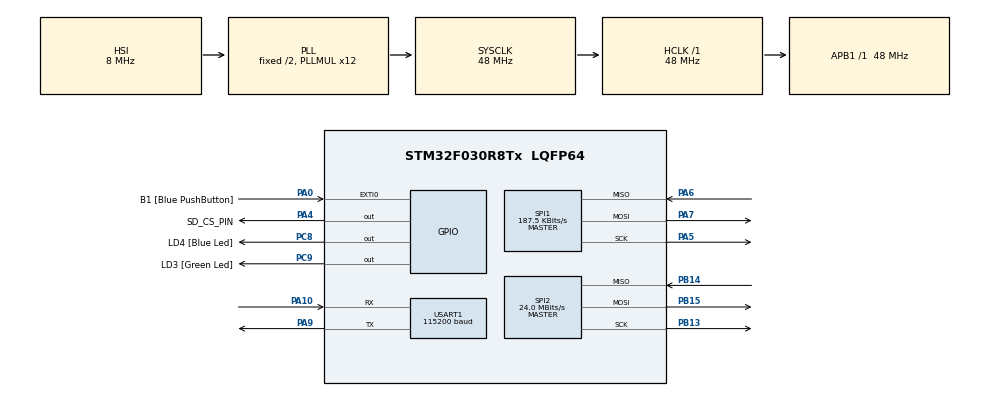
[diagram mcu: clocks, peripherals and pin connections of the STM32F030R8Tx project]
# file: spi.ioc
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Mcu.Family=STM32F0
Mcu.Name=STM32F030R8Tx
Mcu.Package=LQFP64
NVIC.TIM6_IRQn=true\:0\:0\:false\:false\:true\:true\:true
NVIC.USART1_IRQn=true\:0\:0\:false\:false\:true\:true\:true
PA0.GPIO_Label=B1 [Blue PushButton]
PA0.GPIO_ModeDefaultEXTI=GPIO_MODE_EVT_RISING
PA0.Signal=GPXTI0
PA10.Mode=Asynchronous
PA10.Signal=USART1_RX
PA13.GPIO_Label=SWDIO
PA13.Signal=SYS_SWDIO
PA14.GPIO_Label=SWCLK
PA14.Signal=SYS_SWCLK
PA4.GPIO_Label=SD_CS_PIN
PA4.Signal=GPIO_Output
PA5.Mode=Full_Duplex_Master
PA5.Signal=SPI1_SCK
PA6.Mode=Full_Duplex_Master
PA6.Signal=SPI1_MISO
PA7.Mode=Full_Duplex_Master
PA7.Signal=SPI1_MOSI
PA9.Mode=Asynchronous
PA9.Signal=USART1_TX
PB13.Mode=Full_Duplex_Master
PB13.Signal=SPI2_SCK
PB14.Mode=Full_Duplex_Master
PB14.Signal=SPI2_MISO
PB15.Mode=Full_Duplex_Master
PB15.Signal=SPI2_MOSI
PC8.GPIO_Label=LD4 [Blue Led]
PC8.Signal=GPIO_Output
PC9.GPIO_Label=LD3 [Green Led]
PC9.Signal=GPIO_Output
ProjectManager.HeapSize=0x200
ProjectManager.StackSize=0x400
ProjectManager.TargetToolchain=TrueSTUDIO
RCC.AHBFreq_Value=48000000
RCC.APB1Freq_Value=48000000
RCC.APB1TimFreq_Value=48000000
RCC.HCLKFreq_Value=48000000
RCC.PLLMUL=RCC_PLL_MUL12
RCC.SYSCLKFreq_VALUE=48000000
RCC.SYSCLKSource=RCC_SYSCLKSOURCE_PLLCLK
SPI1.BaudRatePrescaler=SPI_BAUDRATEPRESCALER_256
SPI1.CalculateBaudRate=187.5 KBits/s
SPI1.DataSize=SPI_DATASIZE_8BIT
SPI1.Direction=SPI_DIRECTION_2LINES
SPI1.Mode=SPI_MODE_MASTER
SPI1.VirtualType=VM_MASTER
SPI2.BaudRatePrescaler=SPI_BAUDRATEPRESCALER_2
SPI2.CalculateBaudRate=24.0 MBits/s
SPI2.Direction=SPI_DIRECTION_2LINES
SPI2.Mode=SPI_MODE_MASTER
SPI2.VirtualType=VM_MASTER
TIM6.AutoReloadPreload=TIM_AUTORELOAD_PRELOAD_ENABLE
TIM6.Period=100
TIM6.Prescaler=10
USART1.BaudRate=115200
USART1.VirtualMode-Asynchronous=VM_ASYNC
VP_TIM6_VS_ClockSourceINT.Mode=Enable_Timer
board=32F0308DISCOVERY

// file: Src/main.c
/* USER CODE BEGIN Header */
/**
  ******************************************************************************
  * @file           : main.c
  * @brief          : Main program body
  ******************************************************************************
  * @attention
  *
  * <h2><center>&copy; Copyright (c) 2019 STMicroelectronics.
  * All rights reserved.</center></h2>
  *
  * This software component is licensed by ST under BSD 3-Clause license,
  * the "License"; You may not use this file except in compliance with the
  * License. You may obtain a copy of the License at:
  *                        opensource.org/licenses/BSD-3-Clause
  *
  ******************************************************************************
  */
/* USER CODE END Header */

#include "main.h"
#include "cgpio.h"
#include "fat.h"
#include "sd.h"

SPI_HandleTypeDef hspi1;
SPI_HandleTypeDef hspi2;

TIM_HandleTypeDef htim6;

UART_HandleTypeDef huart1;

/* USER CODE BEGIN PV */
	uint8_t spi_rx[100];
	uint8_t spi_tx[100];
	uint32_t blink_counter = 0;
/* USER CODE END PV */

void SystemClock_Config(void);
static void MX_GPIO_Init(void);
static void MX_SPI1_Init(void);
static void MX_TIM6_Init(void);
static void MX_USART1_UART_Init(void);
static void MX_SPI2_Init(void);

int main(void)
{

  /* MCU Configuration--------------------------------------------------------*/

  /* Reset of all peripherals, Initializes the Flash interface and the Systick. */
  HAL_Init();

  /* USER CODE BEGIN Init */
	setvbuf(stdout, NULL, _IONBF, 0);
  /* USER CODE END Init */

  /* Configure the system clock */
  SystemClock_Config();

  /* Initialize all configured peripherals */
  MX_GPIO_Init();
  MX_SPI1_Init();
  MX_TIM6_Init();
  MX_USART1_UART_Init();
  MX_SPI2_Init();
  /* USER CODE BEGIN 2 */

  uint32_t block_data[128] = {0};
  uint32_t lba_address = 0;
  BPB_boot_sector_t boot_partition;

	printf("Program start! \r\n");
	if ( !init_FAT()){

		if ( SD_readSingleBlock (  block_data , 0  )) {
			printf(" can't read block data \r\n" );

		}

		lba_address  = 512* ((  block_data[113]>>16 ) &  0xffff );

		boot_partition.BPB_BytesPerSec = ((block_data[ 3] &0xf)<<8)  |
						(block_data[2] & 0xff000000)>>24;
		boot_partition.BPB_SecPerClus  =  (block_data[ 3] >>8)  &0xff;
		boot_partition.BPB_RsvdSecCnt  =  (block_data[ 3] >>16) &0xffff;
		boot_partition.BPB_NumFATS     =   block_data[ 4];
		boot_partition.BPB_FATSz32     =   block_data[ 9]       &0xffff;
		boot_partition.BPB_RootClus    =   block_data[11];

		printf("lba addr %x \r\n",lba_address );
		printf("BPB_BytesPerSec %x \r\n",boot_partition.BPB_BytesPerSec );
		printf("BPB_SecPerClus %x \r\n",boot_partition.BPB_SecPerClus );
		printf("BPB_RsvdSecCnt %x \r\n",boot_partition.BPB_RsvdSecCnt );
		printf("BPB_NumFATS %x \r\n",boot_partition.BPB_NumFATS );
		printf("BPB_FATSz32 %x \r\n",boot_partition.BPB_FATSz32 );
		printf("BPB_RootClus %x \r\n",boot_partition.BPB_RootClus );
	}
  /* USER CODE END 2 */

  /* Infinite loop */
  while (1)
  {

    /* USER CODE BEGIN 3 */

	//HAL_SPI_Transmit (&hspi1,spi_tx, 2, HAL_MAX_DELAY);
	/*! \todo add trasmition reception */
//	HAL_SPI_TransmitReceive(^hspi1, spi_tx, spi_rx, );
	if (HAL_GetTick () > blink_counter  ) {
		blink_counter = HAL_GetTick () + 1000;
		LED_BLUE_TOGGLE();
	}
  }
  /* USER CODE END 3 */
}

void SystemClock_Config(void)
{
  RCC_OscInitTypeDef RCC_OscInitStruct = {0};
  RCC_ClkInitTypeDef RCC_ClkInitStruct = {0};
  RCC_PeriphCLKInitTypeDef PeriphClkInit = {0};

  /** Initializes the CPU, AHB and APB busses clocks
  */
  RCC_OscInitStruct.OscillatorType = RCC_OSCILLATORTYPE_HSI;
  RCC_OscInitStruct.HSIState = RCC_HSI_ON;
  RCC_OscInitStruct.HSICalibrationValue = RCC_HSICALIBRATION_DEFAULT;
  RCC_OscInitStruct.PLL.PLLState = RCC_PLL_ON;
  RCC_OscInitStruct.PLL.PLLSource = RCC_PLLSOURCE_HSI;
  RCC_OscInitStruct.PLL.PLLMUL = RCC_PLL_MUL12;
  RCC_OscInitStruct.PLL.PREDIV = RCC_PREDIV_DIV1;
  if (HAL_RCC_OscConfig(&RCC_OscInitStruct) != HAL_OK)
  {
    Error_Handler();
  }
  /** Initializes the CPU, AHB and APB busses clocks
  */
  RCC_ClkInitStruct.ClockType = RCC_CLOCKTYPE_HCLK|RCC_CLOCKTYPE_SYSCLK
                              |RCC_CLOCKTYPE_PCLK1;
  RCC_ClkInitStruct.SYSCLKSource = RCC_SYSCLKSOURCE_PLLCLK;
  RCC_ClkInitStruct.AHBCLKDivider = RCC_SYSCLK_DIV1;
  RCC_ClkInitStruct.APB1CLKDivider = RCC_HCLK_DIV1;

  if (HAL_RCC_ClockConfig(&RCC_ClkInitStruct, FLASH_LATENCY_1) != HAL_OK)
  {
    Error_Handler();
  }
  PeriphClkInit.PeriphClockSelection = RCC_PERIPHCLK_USART1;
  PeriphClkInit.Usart1ClockSelection = RCC_USART1CLKSOURCE_PCLK1;
  if (HAL_RCCEx_PeriphCLKConfig(&PeriphClkInit) != HAL_OK)
  {
    Error_Handler();
  }
}

static void MX_SPI1_Init(void)
{

  /* SPI1 parameter configuration*/
  hspi1.Instance = SPI1;
  hspi1.Init.Mode = SPI_MODE_MASTER;
  hspi1.Init.Direction = SPI_DIRECTION_2LINES;
  hspi1.Init.DataSize = SPI_DATASIZE_8BIT;
  hspi1.Init.CLKPolarity = SPI_POLARITY_HIGH;
  hspi1.Init.CLKPhase = SPI_PHASE_2EDGE;
  hspi1.Init.NSS = SPI_NSS_SOFT;
  hspi1.Init.BaudRatePrescaler = SPI_BAUDRATEPRESCALER_256;
  hspi1.Init.FirstBit = SPI_FIRSTBIT_MSB;
  hspi1.Init.TIMode = SPI_TIMODE_DISABLE;
  hspi1.Init.CRCCalculation = SPI_CRCCALCULATION_DISABLE;
  hspi1.Init.CRCPolynomial = 10;

  if (HAL_SPI_Init(&hspi1) != HAL_OK)
  {
    Error_Handler();
  }

}

static void MX_SPI2_Init(void)
{

  /* SPI2 parameter configuration*/
  hspi2.Instance = SPI2;
  hspi2.Init.Mode = SPI_MODE_MASTER;
  hspi2.Init.Direction = SPI_DIRECTION_2LINES;
  hspi2.Init.DataSize = SPI_DATASIZE_4BIT;
  hspi2.Init.CLKPolarity = SPI_POLARITY_LOW;
  hspi2.Init.CLKPhase = SPI_PHASE_1EDGE;
  hspi2.Init.NSS = SPI_NSS_SOFT;
  hspi2.Init.BaudRatePrescaler = SPI_BAUDRATEPRESCALER_2;
  hspi2.Init.FirstBit = SPI_FIRSTBIT_MSB;
  hspi2.Init.TIMode = SPI_TIMODE_DISABLE;
  hspi2.Init.CRCCalculation = SPI_CRCCALCULATION_DISABLE;
  hspi2.Init.CRCPolynomial = 7;
  hspi2.Init.CRCLength = SPI_CRC_LENGTH_DATASIZE;
  hspi2.Init.NSSPMode = SPI_NSS_PULSE_ENABLE;
  if (HAL_SPI_Init(&hspi2) != HAL_OK)
  {
    Error_Handler();
  }

}

static void MX_TIM6_Init(void)
{

  htim6.Instance = TIM6;
  htim6.Init.Prescaler = 10;
  htim6.Init.CounterMode = TIM_COUNTERMODE_UP;
  htim6.Init.Period = 100;
  htim6.Init.AutoReloadPreload = TIM_AUTORELOAD_PRELOAD_ENABLE;
  if (HAL_TIM_Base_Init(&htim6) != HAL_OK)
  {
    Error_Handler();
  }

}

static void MX_USART1_UART_Init(void)
{

  huart1.Instance = USART1;
  huart1.Init.BaudRate = 921600;
  huart1.Init.WordLength = UART_WORDLENGTH_8B;
  huart1.Init.StopBits = UART_STOPBITS_1;
  huart1.Init.Parity = UART_PARITY_NONE;
  huart1.Init.Mode = UART_MODE_TX_RX;
  huart1.Init.HwFlowCtl = UART_HWCONTROL_NONE;
  huart1.Init.OverSampling = UART_OVERSAMPLING_16;
  huart1.Init.OneBitSampling = UART_ONE_BIT_SAMPLE_DISABLE;
  huart1.AdvancedInit.AdvFeatureInit = UART_ADVFEATURE_NO_INIT;
  if (HAL_UART_Init(&huart1) != HAL_OK)
  {
    Error_Handler();
  }

}

static void MX_GPIO_Init(void)
{
  GPIO_InitTypeDef GPIO_InitStruct = {0};

  /* GPIO Ports Clock Enable */
  __HAL_RCC_GPIOA_CLK_ENABLE();
  __HAL_RCC_GPIOB_CLK_ENABLE();
  __HAL_RCC_GPIOC_CLK_ENABLE();

  /*Configure GPIO pin Output Level */
  HAL_GPIO_WritePin(SD_CS_PIN_GPIO_Port, SD_CS_PIN_Pin, GPIO_PIN_RESET);

  /*Configure GPIO pin Output Level */
  HAL_GPIO_WritePin(GPIOC, LD4_Pin|LD3_Pin, GPIO_PIN_RESET);

  /*Configure GPIO pin : B1_Pin */
  GPIO_InitStruct.Pin = B1_Pin;
  GPIO_InitStruct.Mode = GPIO_MODE_EVT_RISING;
  GPIO_InitStruct.Pull = GPIO_NOPULL;
  HAL_GPIO_Init(B1_GPIO_Port, &GPIO_InitStruct);

  /*Configure GPIO pin : SD_CS_PIN_Pin */
  GPIO_InitStruct.Pin = SD_CS_PIN_Pin;
  GPIO_InitStruct.Mode = GPIO_MODE_OUTPUT_PP;
  GPIO_InitStruct.Pull = GPIO_NOPULL;
  GPIO_InitStruct.Speed = GPIO_SPEED_FREQ_LOW;
  HAL_GPIO_Init(SD_CS_PIN_GPIO_Port, &GPIO_InitStruct);

  /*Configure GPIO pins : LD4_Pin LD3_Pin */
  GPIO_InitStruct.Pin = LD4_Pin|LD3_Pin;
  GPIO_InitStruct.Mode = GPIO_MODE_OUTPUT_PP;
  GPIO_InitStruct.Pull = GPIO_NOPULL;
  GPIO_InitStruct.Speed = GPIO_SPEED_FREQ_LOW;
  HAL_GPIO_Init(GPIOC, &GPIO_InitStruct);

}

void Error_Handler(void)
{
}

/************************ (C) COPYRIGHT STMicroelectronics *****END OF FILE****/
